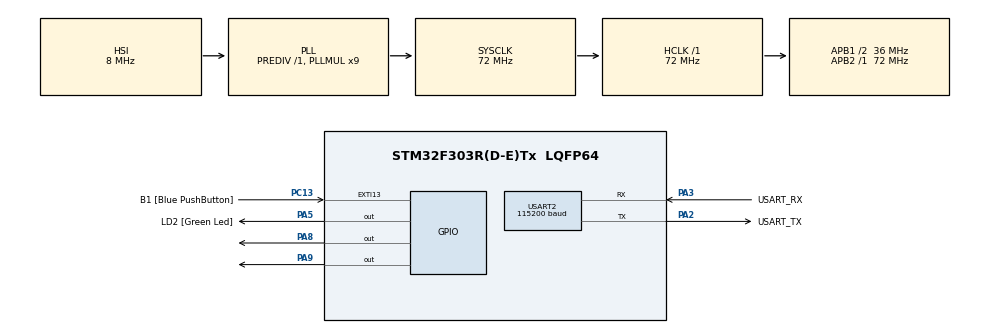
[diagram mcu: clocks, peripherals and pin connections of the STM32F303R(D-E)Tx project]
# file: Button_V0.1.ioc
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Mcu.Family=STM32F3
Mcu.Name=STM32F303R(D-E)Tx
Mcu.Package=LQFP64
NVIC.PriorityGroup=NVIC_PRIORITYGROUP_0
PA13.GPIO_Label=TMS
PA13.Mode=Serial_Wire
PA13.Signal=SYS_JTMS-SWDIO
PA14.GPIO_Label=TCK
PA14.Mode=Serial_Wire
PA14.Signal=SYS_JTCK-SWCLK
PA2.GPIO_Label=USART_TX
PA2.GPIO_Mode=GPIO_MODE_AF_PP
PA2.GPIO_PuPd=GPIO_NOPULL
PA2.GPIO_Speed=GPIO_SPEED_FREQ_LOW
PA2.Mode=Asynchronous
PA2.Signal=USART2_TX
PA3.GPIO_Label=USART_RX
PA3.GPIO_Mode=GPIO_MODE_AF_PP
PA3.GPIO_PuPd=GPIO_NOPULL
PA3.GPIO_Speed=GPIO_SPEED_FREQ_LOW
PA3.Mode=Asynchronous
PA3.Signal=USART2_RX
PA5.GPIO_Label=LD2 [Green Led]
PA5.GPIO_Mode=GPIO_MODE_OUTPUT_PP
PA5.GPIO_PuPd=GPIO_NOPULL
PA5.GPIO_Speed=GPIO_SPEED_FREQ_LOW
PA5.Signal=GPIO_Output
PA8.GPIO_PuPd=GPIO_PULLDOWN
PA8.Signal=GPIO_Output
PA9.GPIO_PuPd=GPIO_PULLDOWN
PA9.Signal=GPIO_Output
PB3.GPIO_Label=SWO
PB3.Signal=SYS_JTDO-TRACESWO
PC13.GPIO_Label=B1 [Blue PushButton]
PC13.GPIO_ModeDefaultEXTI=GPIO_MODE_IT_FALLING
PC13.Signal=GPXTI13
PC14-OSC32_IN.Mode=LSE-External-Oscillator
PC14-OSC32_IN.Signal=RCC_OSC32_IN
PC15-OSC32_OUT.Mode=LSE-External-Oscillator
PC15-OSC32_OUT.Signal=RCC_OSC32_OUT
PF0-OSC_IN.Mode=HSE-External-Oscillator
PF0-OSC_IN.Signal=RCC_OSC_IN
PF1-OSC_OUT.Mode=HSE-External-Oscillator
PF1-OSC_OUT.Signal=RCC_OSC_OUT
ProjectManager.HeapSize=0x200
ProjectManager.StackSize=0x400
ProjectManager.TargetToolchain=STM32CubeIDE
RCC.AHBFreq_Value=72000000
RCC.APB1CLKDivider=RCC_HCLK_DIV2
RCC.APB1Freq_Value=36000000
RCC.APB1TimFreq_Value=72000000
RCC.APB2Freq_Value=72000000
RCC.APB2TimFreq_Value=72000000
RCC.CortexFreq_Value=72000000
RCC.HCLKFreq_Value=72000000
RCC.HSE_VALUE=8000000
RCC.HSI_VALUE=8000000
RCC.PLLM=8
RCC.PLLMUL=RCC_PLL_MUL9
RCC.PLLN=336
RCC.PLLP=RCC_PLLP_DIV4
RCC.PLLQ=7
RCC.RCC_PLLsource_Clock_Source_FROM_HSE=RCC_HSE_PREDIV_DIV2
RCC.SYSCLKFreq_VALUE=72000000
RCC.SYSCLKSourceVirtual=RCC_SYSCLKSOURCE_PLLCLK
RCC.USBFreq_Value=72000000
USART2.BaudRate=115200
USART2.VirtualMode-Asynchronous=VM_ASYNC
board=NUCLEO-F303RE

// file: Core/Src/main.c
/* USER CODE BEGIN Header */
/**
  ******************************************************************************
  * @file           : main.c
  * @brief          : Main program body
  ******************************************************************************
  * @attention
  *
  * Copyright (c) 2024 STMicroelectronics.
  * All rights reserved.
  *
  * This software is licensed under terms that can be found in the LICENSE file
  * in the root directory of this software component.
  * If no LICENSE file comes with this software, it is provided AS-IS.
  *
  ******************************************************************************
  */
/* USER CODE END Header */
#include "main.h"

/* USER CODE BEGIN Includes */
#include <string.h>
#include <stdio.h>
/* USER CODE END Includes */

/* USER CODE BEGIN PD */
volatile uint32_t ms_counter = 0;
/* USER CODE END PD */

UART_HandleTypeDef huart2;

void SystemClock_Config(void);
static void MX_GPIO_Init(void);
static void MX_USART2_UART_Init(void);

/* USER CODE BEGIN 0 */
char str[8];
/* USER CODE END 0 */

int main(void)
{

  /* MCU Configuration--------------------------------------------------------*/

  /* Reset of all peripherals, Initializes the Flash interface and the Systick. */
  HAL_Init();

  /* Configure the system clock */
  SystemClock_Config();

  /* Initialize all configured peripherals */
  MX_GPIO_Init();
  MX_USART2_UART_Init();

  /* Infinite loop */
  while (1)
  {

    /* USER CODE BEGIN 3 */

	    switch (ms_counter) {
	        case 0:
	            // At time 0, set pin 1 and pin 2 HIGH
	        	HAL_GPIO_WritePin(GPIOA, GPIO_PIN_8, GPIO_PIN_SET);
	        	HAL_GPIO_WritePin(GPIOA, GPIO_PIN_9, GPIO_PIN_SET);
	            break;

	        case 10:
	            // At time 1, pin 1 should go LOW
	        	HAL_GPIO_WritePin(GPIOA, GPIO_PIN_8, GPIO_PIN_RESET);
	            break;

	        case 2010:
	            // At time 4, pin 2 should go LOW
	        	HAL_GPIO_WritePin(GPIOA, GPIO_PIN_9, GPIO_PIN_RESET);
	            break;

	        case 7010:
	            // At time 9, pin 2 should go HIGH
	        	HAL_GPIO_WritePin(GPIOA, GPIO_PIN_9, GPIO_PIN_SET);
	            break;

	        case 7310:
	            // At time 12, pin 2 should go LOW
	        	HAL_GPIO_WritePin(GPIOA, GPIO_PIN_9, GPIO_PIN_RESET);
	            break;

	        case 8310:
	            // At time 14, pin 2 should go HIGH
	        	HAL_GPIO_WritePin(GPIOA, GPIO_PIN_9, GPIO_PIN_SET);
	            break;

	        case 8610:
	            // At time 17, pin 2 should go LOW
	        	HAL_GPIO_WritePin(GPIOA, GPIO_PIN_9, GPIO_PIN_RESET);
	            break;

	        case 9610:
	            // At time 22, pin 1 should go HIGH
	        	HAL_GPIO_WritePin(GPIOA, GPIO_PIN_8, GPIO_PIN_SET);
	            break;

	        case 9910:
	            // At time 25, pin 1 should go LOW
	        	HAL_GPIO_WritePin(GPIOA, GPIO_PIN_8, GPIO_PIN_RESET);
	            break;

	        case 10000:
	            // At time 30, the sequence is complete. Turn off the timer.
	            // Set the timer_active flag to false
	            ms_counter = 0;
	            break;

//	        default:
//	            // No action for other times
//	        	HAL_GPIO_TogglePin(LD2_GPIO_Port, LD2_Pin);
//	            break;
	    }

	    int size = snprintf((char *)str, sizeof(str), "%lu \r\n", ms_counter);

	    HAL_UART_Transmit(&huart2, (uint8_t *)str, size, 1000);

  }
  /* USER CODE END 3 */
}

void SystemClock_Config(void)
{
  RCC_OscInitTypeDef RCC_OscInitStruct = {0};
  RCC_ClkInitTypeDef RCC_ClkInitStruct = {0};
  RCC_PeriphCLKInitTypeDef PeriphClkInit = {0};

  /** Initializes the RCC Oscillators according to the specified parameters
  * in the RCC_OscInitTypeDef structure.
  */
  RCC_OscInitStruct.OscillatorType = RCC_OSCILLATORTYPE_HSI;
  RCC_OscInitStruct.HSIState = RCC_HSI_ON;
  RCC_OscInitStruct.HSICalibrationValue = RCC_HSICALIBRATION_DEFAULT;
  RCC_OscInitStruct.PLL.PLLState = RCC_PLL_ON;
  RCC_OscInitStruct.PLL.PLLSource = RCC_PLLSOURCE_HSI;
  RCC_OscInitStruct.PLL.PLLMUL = RCC_PLL_MUL9;
  RCC_OscInitStruct.PLL.PREDIV = RCC_PREDIV_DIV1;
  if (HAL_RCC_OscConfig(&RCC_OscInitStruct) != HAL_OK)
  {
    Error_Handler();
  }

  /** Initializes the CPU, AHB and APB buses clocks
  */
  RCC_ClkInitStruct.ClockType = RCC_CLOCKTYPE_HCLK|RCC_CLOCKTYPE_SYSCLK
                              |RCC_CLOCKTYPE_PCLK1|RCC_CLOCKTYPE_PCLK2;
  RCC_ClkInitStruct.SYSCLKSource = RCC_SYSCLKSOURCE_PLLCLK;
  RCC_ClkInitStruct.AHBCLKDivider = RCC_SYSCLK_DIV1;
  RCC_ClkInitStruct.APB1CLKDivider = RCC_HCLK_DIV2;
  RCC_ClkInitStruct.APB2CLKDivider = RCC_HCLK_DIV1;

  if (HAL_RCC_ClockConfig(&RCC_ClkInitStruct, FLASH_LATENCY_2) != HAL_OK)
  {
    Error_Handler();
  }
  PeriphClkInit.PeriphClockSelection = RCC_PERIPHCLK_USART2;
  PeriphClkInit.Usart2ClockSelection = RCC_USART2CLKSOURCE_PCLK1;
  if (HAL_RCCEx_PeriphCLKConfig(&PeriphClkInit) != HAL_OK)
  {
    Error_Handler();
  }
}

static void MX_USART2_UART_Init(void)
{

  huart2.Instance = USART2;
  huart2.Init.BaudRate = 115200;
  huart2.Init.WordLength = UART_WORDLENGTH_8B;
  huart2.Init.StopBits = UART_STOPBITS_1;
  huart2.Init.Parity = UART_PARITY_NONE;
  huart2.Init.Mode = UART_MODE_TX_RX;
  huart2.Init.HwFlowCtl = UART_HWCONTROL_NONE;
  huart2.Init.OverSampling = UART_OVERSAMPLING_16;
  huart2.Init.OneBitSampling = UART_ONE_BIT_SAMPLE_DISABLE;
  huart2.AdvancedInit.AdvFeatureInit = UART_ADVFEATURE_NO_INIT;
  if (HAL_UART_Init(&huart2) != HAL_OK)
  {
    Error_Handler();
  }

}

static void MX_GPIO_Init(void)
{
  GPIO_InitTypeDef GPIO_InitStruct = {0};

  /* GPIO Ports Clock Enable */
  __HAL_RCC_GPIOC_CLK_ENABLE();
  __HAL_RCC_GPIOF_CLK_ENABLE();
  __HAL_RCC_GPIOA_CLK_ENABLE();
  __HAL_RCC_GPIOB_CLK_ENABLE();

  /*Configure GPIO pin Output Level */
  HAL_GPIO_WritePin(GPIOA, LD2_Pin|GPIO_PIN_8|GPIO_PIN_9, GPIO_PIN_RESET);

  /*Configure GPIO pin : B1_Pin */
  GPIO_InitStruct.Pin = B1_Pin;
  GPIO_InitStruct.Mode = GPIO_MODE_IT_FALLING;
  GPIO_InitStruct.Pull = GPIO_NOPULL;
  HAL_GPIO_Init(B1_GPIO_Port, &GPIO_InitStruct);

  /*Configure GPIO pin : LD2_Pin */
  GPIO_InitStruct.Pin = LD2_Pin;
  GPIO_InitStruct.Mode = GPIO_MODE_OUTPUT_PP;
  GPIO_InitStruct.Pull = GPIO_NOPULL;
  GPIO_InitStruct.Speed = GPIO_SPEED_FREQ_LOW;
  HAL_GPIO_Init(LD2_GPIO_Port, &GPIO_InitStruct);

  /*Configure GPIO pins : PA8 PA9 */
  GPIO_InitStruct.Pin = GPIO_PIN_8|GPIO_PIN_9;
  GPIO_InitStruct.Mode = GPIO_MODE_OUTPUT_PP;
  GPIO_InitStruct.Pull = GPIO_PULLDOWN;
  GPIO_InitStruct.Speed = GPIO_SPEED_FREQ_LOW;
  HAL_GPIO_Init(GPIOA, &GPIO_InitStruct);

}

void Error_Handler(void)
{
  __disable_irq();
  while (1)
  {
  }
}
